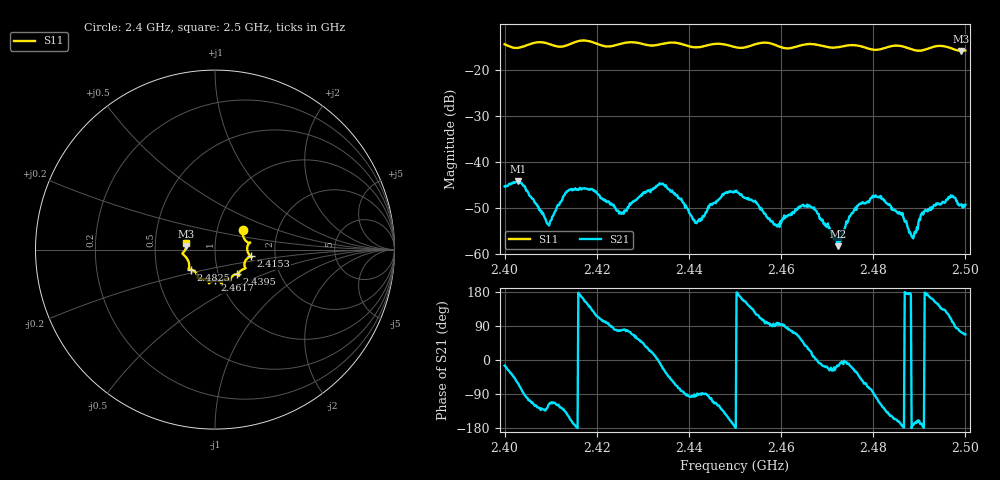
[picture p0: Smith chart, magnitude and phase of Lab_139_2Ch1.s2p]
# Hz S RI R 50
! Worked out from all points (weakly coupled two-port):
!   601 points, 2.4 GHz to 2.5 GHz, reference 50 ohm
!   highest |S21| = -44.18 dB at 2.4028 GHz (marker M1); lowest = -58.3 dB at 2.4723 GHz (marker M2)
!   lowest |S11| = -15.9 dB at 2.499 GHz (marker M3), VSWR 1.38, Z = 36.2 + j1.3 ohm
!   |S11| at or under -10 dB: start of sweep to end of sweep
!   S12 and S22 are empty: the file has one direction only
!   S11 on the Smith chart (normalised r, x): 2.4 GHz: 1.33, +0.30; 2.4153 GHz: 1.49, -0.11; 2.4395 GHz: 1.22, -0.35; 2.4617 GHz: 0.94, -0.33; 2.4825 GHz: 0.75, -0.17; 2.5 GHz: 0.72, +0.05
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2.4e9  0.1559 0.1089  0.00525 -0.0014  0 0  0 0
2.402833e9  0.1618 0.0627  0.00306 -0.00537  0 0  0 0
2.4095e9  0.1897 0.0348  -0.00101 -0.00185  0 0  0 0
2.415333e9  0.1979 -0.0367  -0.00516 -0.000613  0 0  0 0
2.416667e9  0.2045 -0.0417  -0.00489 0.00116  0 0  0 0
2.425333e9  0.1666 -0.0982  0.000512 0.00268  0 0  0 0
2.433333e9  0.1326 -0.1334  0.00566 -0.000134  0 0  0 0
2.4395e9  0.1222 -0.1376  -0.000214 -0.00316  0 0  0 0
2.441833e9  0.0995 -0.1452  6.96e-05 -0.00223  0 0  0 0
2.45e9  0.0668 -0.1644  -0.00487 -0.00025  0 0  0 0
2.458833e9  0.033 -0.1832  -9.09e-05 0.00207  0 0  0 0
2.461667e9  0.000774 -0.1715  0.000368 0.00266  0 0  0 0
2.466667e9  -0.0335 -0.1884  0.0031 0.000935  0 0  0 0
2.472333e9  -0.0711 -0.1617  0.00117 -0.00034  0 0  0 0
2.477e9  -0.0952 -0.1558  0.00252 -0.00243  0 0  0 0
2.4825e9  -0.1324 -0.1116  -0.00249 -0.00287  0 0  0 0
2.483333e9  -0.1398 -0.1108  -0.00275 -0.00207  0 0  0 0
2.488333e9  -0.1433 -0.0864  -0.00156 -3.01e-06  0 0  0 0
2.4935e9  -0.1791 -0.0252  -0.00298 0.00155  0 0  0 0
2.496833e9  -0.1724 -0.0108  -0.00142 0.00411  0 0  0 0
2.499e9  -0.1602 0.0175  0.000926 0.00329  0 0  0 0
2.5e9  -0.1593 0.0353  0.00132 0.00318  0 0  0 0
